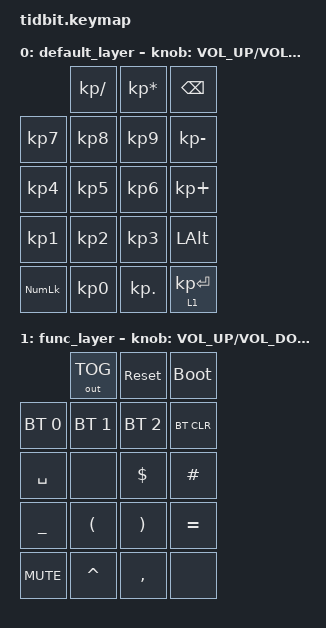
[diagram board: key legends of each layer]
/*
 * Copyright (c) 2020 The ZMK Contributors
 *
 * SPDX-License-Identifier: MIT
 */

#include <behaviors.dtsi>
#include <dt-bindings/zmk/bt.h>
#include <dt-bindings/zmk/outputs.h>
#include <dt-bindings/zmk/keys.h>

&encoder_4 {
    status = "okay";
};

/ {
    sensors {
        compatible = "zmk,keymap-sensors";
        sensors = <&encoder_4>;
    };

    keymap {
        compatible = "zmk,keymap";

        default_layer {
            bindings = <
                                &kp KP_DIVIDE   &kp KP_ASTERISK &kp BSPC
                &kp KP_NUMBER_7 &kp KP_NUMBER_8 &kp KP_NUMBER_9 &kp KP_MINUS
                &kp KP_NUMBER_4 &kp KP_NUMBER_5 &kp KP_NUMBER_6 &kp KP_PLUS
                &kp KP_NUMBER_1 &kp KP_NUMBER_2 &kp KP_NUMBER_3 &kp LALT
                &kp KP_NUMLOCK  &kp KP_NUMBER_0 &kp KP_DOT      &lt 1 KP_ENTER
            >;

            sensor-bindings = <&inc_dec_kp C_VOLUME_UP C_VOLUME_DOWN>;
        };

         func_layer {
             bindings = <
                                &out OUT_TOG    &sys_reset      &bootloader
                &bt BT_SEL 0    &bt BT_SEL 1    &bt BT_SEL 2    &bt BT_CLR
                &kp SPACE       &none           &kp DLLR        &kp HASH
                &kp UNDER       &kp LPAR        &kp RPAR        &kp EQUAL
                &kp C_MUTE      &kp CARET       &kp COMMA       &none
             >;

             sensor-bindings = <&inc_dec_kp C_VOLUME_UP C_VOLUME_DOWN>;
         };
    };
};

&kscan0 {
    wakeup-source;
};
